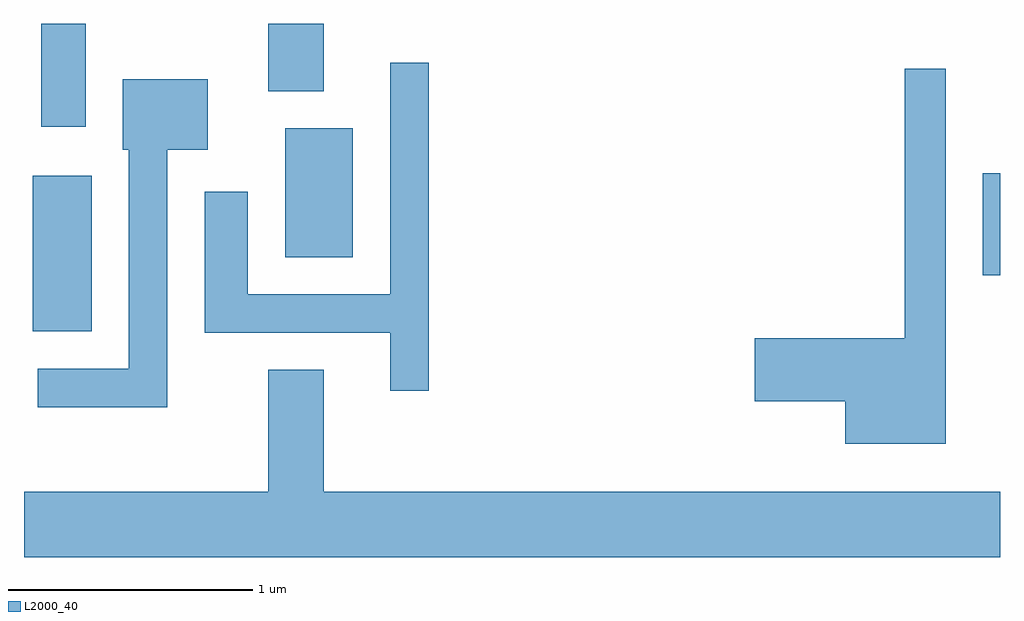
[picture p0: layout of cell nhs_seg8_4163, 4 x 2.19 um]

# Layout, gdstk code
import gdstk
lib = gdstk.Library(unit=1e-6, precision=1e-09)
def R(c, l, rs):  # rectangles x0, y0, x1, y1
    for r in rs: c.add(gdstk.rectangle(r[:2], r[2:], *l))
def P(c, l, *ps):  # polygons
    for p in ps: c.add(gdstk.Polygon(p, *l))
L2000_40 = (2000, 40)

nhs_seg8_4163 = lib.new_cell('nhs_seg8_4163')
R(nhs_seg8_4163, L2000_40, [(309.646,1875.081,309.889,1875.719), (313.541,1875.311,313.611,1875.729), (310.681,1875.386,310.959,1875.914), (309.681,1875.921,309.864,1876.342), (310.611,1876.066,310.839,1876.342)])
P(nhs_seg8_4163, L2000_40, [(311.269,1876.183),(311.111,1876.183),(311.111,1875.234),(310.529,1875.234),(310.529,1875.654),(310.351,1875.654),(310.351,1875.076),(311.111,1875.076),(311.111,1874.838),(311.269,1874.838)],
  [(313.389,1876.158),(313.221,1876.158),(313.221,1875.054),(312.606,1875.054),(312.606,1874.796),(312.976,1874.796),(312.976,1874.621),(313.389,1874.621)],
  [(310.199,1875.826),(310.364,1875.826),(310.364,1876.114),(310.016,1876.114),(310.016,1875.826),(310.041,1875.826),(310.041,1874.929),(309.668,1874.929),(309.668,1874.771),(310.199,1874.771)],
  [(313.611,1874.424),(310.839,1874.424),(310.839,1874.924),(310.611,1874.924),(310.611,1874.424),(309.611,1874.424),(309.611,1874.156),(313.611,1874.156)])

lib.write_gds('nhs_seg8_4163.gds')
